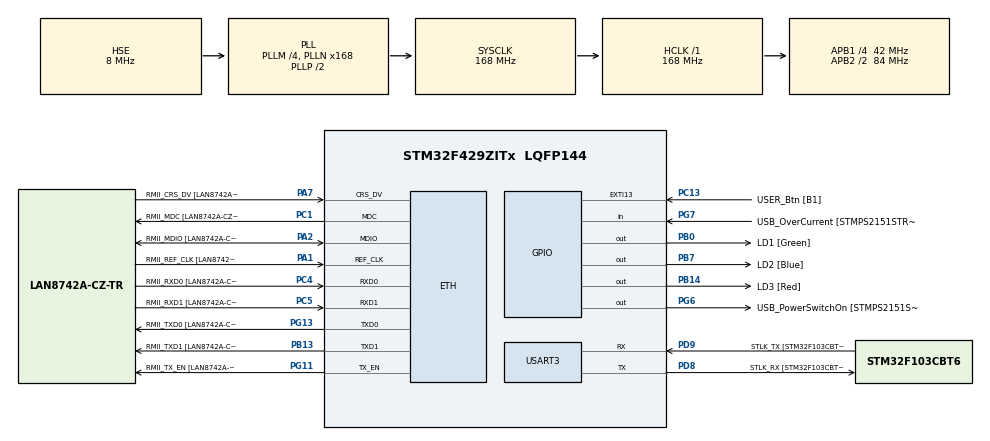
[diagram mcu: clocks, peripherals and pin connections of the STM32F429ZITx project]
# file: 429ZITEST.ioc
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Mcu.Family=STM32F4
RCC.CortexFreq_Value=168000000
PG6.Signal=GPIO_Output
PB14.GPIO_Label=LD3 [Red]
PG6.GPIO_Label=USB_PowerSwitchOn [STMPS2151STR_EN]
PA14.GPIO_Label=TCK
RCC.SYSCLKSourceVirtual=RCC_SYSCLKSOURCE_PLLCLK
PB0.GPIO_Label=LD1 [Green]
PC14/OSC32_IN.Mode=LSE-External-Oscillator
PC5.Mode=RMII
PC13.GPIO_Label=USER_Btn [B1]
PB13.GPIO_Label=RMII_TXD1 [LAN8742A-CZ-TR_TXD1]
PB13.Signal=ETH_TXD1
PG13.Signal=ETH_TXD0
PD9.Mode=Asynchronous
PG11.Signal=ETH_TX_EN
RCC.SYSCLKSource=RCC_SYSCLKSOURCE_PLLCLK
ProjectManager.StackSize=0x400
PA12.Signal=USB_OTG_FS_DP
PH0/OSC_IN.Mode=HSE-External-Clock-Source
RCC.HCLKFreq_Value=168000000
RCC.APB2TimFreq_Value=168000000
PH1/OSC_OUT.Signal=RCC_OSC_OUT
PD8.Signal=USART3_TX
RCC.AHBFreq_Value=168000000
RCC.HSE_VALUE=8000000
RCC.PLLMUL=RCC_PLL_MUL9
PC4.GPIO_Label=RMII_RXD0 [LAN8742A-CZ-TR_RXD0]
PA14.Mode=Serial_Wire
PA10.GPIO_Label=USB_ID
PB7.Signal=GPIO_Output
PA8.Signal=USB_OTG_FS_SOF
PG13.Mode=RMII
PH1/OSC_OUT.Mode=HSE-External-Clock-Source
PB7.GPIO_Label=LD2 [Blue]
Mcu.Package=LQFP144
PC14/OSC32_IN.Signal=RCC_OSC32_IN
PA2.GPIO_Label=RMII_MDIO [LAN8742A-CZ-TR_MDIO]
PA10.Signal=USB_OTG_FS_ID
RCC.APB2CLKDivider=RCC_HCLK_DIV2
RCC.APB1TimFreq_Value=84000000
PG11.GPIO_Label=RMII_TX_EN [LAN8742A-CZ-TR_TXEN]
PC5.Signal=ETH_RXD1
PB13.Mode=RMII
PC4.Mode=RMII
RCC.PLLSourceVirtual=RCC_PLLSOURCE_HSE
PA7.Mode=RMII
PG7.Signal=GPIO_Input
PD9.GPIO_Label=STLK_TX [STM32F103CBT6_PA2]
PC13.Signal=GPXTI13
PA9.GPIO_Label=USB_VBUS
PC4.Signal=ETH_RXD0
PA11.GPIO_Label=USB_DM
PD9.Signal=USART3_RX
RCC.APB1CLKDivider=RCC_HCLK_DIV4
PG13.GPIO_Label=RMII_TXD0 [LAN8742A-CZ-TR_TXD0]
ETH.PhyAddress=0
PA12.GPIO_Label=USB_DP
VP_LWIP_VS_Enabled.Mode=Enabled
PD8.GPIO_Label=STLK_RX [STM32F103CBT6_PA3]
PA13.Signal=SYS_JTMS-SWDIO
PA8.GPIO_Label=USB_SOF [TP1]
ProjectManager.TargetToolchain=EWARM V8.32
LWIP.LWIP_NETIF_LINK_CALLBACK=1
PA9.Signal=USB_OTG_FS_VBUS
RCC.USBFreq_Value=48000000
PD8.Mode=Asynchronous
PA1.Signal=ETH_REF_CLK
PB14.Signal=GPIO_Output
board=NUCLEO-F429ZI
RCC.VCOOutputFreq_Value=336000000
PH0/OSC_IN.Signal=RCC_OSC_IN
RCC.APB2Freq_Value=84000000
PA1.Mode=RMII
RCC.PRESCALERUSB=RCC_USBCLKSOURCE_PLL_DIV1_5
PG7.GPIO_Label=USB_OverCurrent [STMPS2151STR_FAULT]
PA1.GPIO_Label=RMII_REF_CLK [LAN8742A-CZ-TR_REFCLK0]
PC1.GPIO_Label=RMII_MDC [LAN8742A-CZ-TR_MDC]
PA13.Mode=Serial_Wire
Mcu.Name=STM32F429ZITx
PA2.Signal=ETH_MDIO
PA13.GPIO_Label=TMS
RCC.APB2TimCLKDivider=2
RCC.48MHZClocksFreq_Value=48000000
RCC.SYSCLKFreq_VALUE=168000000
ETH.MediaInterface=ETH_MEDIA_INTERFACE_RMII
PA7.GPIO_Label=RMII_CRS_DV [LAN8742A-CZ-TR_CRS_DV]
PC5.GPIO_Label=RMII_RXD1 [LAN8742A-CZ-TR_RXD1]
USART3.VirtualMode=VM_ASYNC
PC15/OSC32_OUT.Mode=LSE-External-Oscillator
PG11.Mode=RMII
PA11.Signal=USB_OTG_FS_DM
PA14.Signal=SYS_JTCK-SWCLK
ProjectManager.HeapSize=0x200
LWIP.Version=v2.1.2_Cube
RCC.HSI_VALUE=16000000
PH0/OSC_IN.GPIO_Label=MCO [STM32F103CBT6_PA8]
RCC.PLLQ=7
NVIC.PriorityGroup=NVIC_PRIORITYGROUP_4
RCC.PLLM=4
RCC.PLLN=168
PA2.Mode=RMII
PC15/OSC32_OUT.Signal=RCC_OSC32_OUT
RCC.APB1Freq_Value=42000000
PB0.Signal=GPIO_Output
PC1.Signal=ETH_MDC
PC1.Mode=RMII
PA7.Signal=ETH_CRS_DV

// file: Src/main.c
/* USER CODE BEGIN Header */
/**
  ******************************************************************************
  * @file           : main.c
  * @brief          : Main program body
  ******************************************************************************
  * @attention
  *
  * <h2><center>&copy; Copyright (c) 2021 STMicroelectronics.
  * All rights reserved.</center></h2>
  *
  * This software component is licensed by ST under Ultimate Liberty license
  * SLA0044, the "License"; You may not use this file except in compliance with
  * the License. You may obtain a copy of the License at:
  *                             www.st.com/SLA0044
  *
  ******************************************************************************
  */
/* USER CODE END Header */

#include "main.h"
#include "lwip.h"

/* USER CODE BEGIN Includes */
#include "stdio.h"
/* USER CODE END Includes */

UART_HandleTypeDef huart3;

/* USER CODE BEGIN PV */

#define PUTCHAR_PROTOTYPE_PUT int fputc(int ch, FILE *f)

PUTCHAR_PROTOTYPE_PUT
{
  if(ch == '\n')
  {
    ch='\r';
    HAL_UART_Transmit(&huart3, (uint8_t*)&ch, 1, 1000);
    ch='\n';
    HAL_UART_Transmit(&huart3, (uint8_t*)&ch, 1, 1000);
  }
  else
    HAL_UART_Transmit(&huart3, (uint8_t*)&ch, 1, 1000);
  return ch;
}

/* USER CODE END PV */

void SystemClock_Config(void);
static void MX_GPIO_Init(void);
static void MX_USART3_UART_Init(void);

/* USER CODE BEGIN 0 */

void ethernetif_notify_conn_changed(struct netif *netif)
{
  ethernetif_notify_conn_changed_notify(netif);
  if (netif_is_link_up(netif))
  {
    HAL_GPIO_WritePin(LD1_GPIO_Port, LD1_Pin, GPIO_PIN_SET);
    HAL_GPIO_WritePin(LD3_GPIO_Port, LD3_Pin, GPIO_PIN_RESET);
  }
  else
  {
    HAL_GPIO_WritePin(LD1_GPIO_Port, LD1_Pin, GPIO_PIN_RESET);
    HAL_GPIO_WritePin(LD3_GPIO_Port, LD3_Pin, GPIO_PIN_SET);
  }
}

/* USER CODE END 0 */

int main(void)
{

  /* MCU Configuration--------------------------------------------------------*/

  /* Reset of all peripherals, Initializes the Flash interface and the Systick. */
  HAL_Init();

  /* Configure the system clock */
  SystemClock_Config();

  /* Initialize all configured peripherals */
  MX_GPIO_Init();
  MX_USART3_UART_Init();
  MX_LWIP_Init();

  /* Infinite loop */
  while (1)
  {

    /* USER CODE BEGIN 3 */

    MX_LWIP_Process();
  }
  /* USER CODE END 3 */
}

void SystemClock_Config(void)
{
  RCC_OscInitTypeDef RCC_OscInitStruct = {0};
  RCC_ClkInitTypeDef RCC_ClkInitStruct = {0};

  /** Configure the main internal regulator output voltage
  */
  __HAL_RCC_PWR_CLK_ENABLE();
  __HAL_PWR_VOLTAGESCALING_CONFIG(PWR_REGULATOR_VOLTAGE_SCALE1);
  /** Initializes the CPU, AHB and APB busses clocks
  */
  RCC_OscInitStruct.OscillatorType = RCC_OSCILLATORTYPE_HSE;
  RCC_OscInitStruct.HSEState = RCC_HSE_BYPASS;
  RCC_OscInitStruct.PLL.PLLState = RCC_PLL_ON;
  RCC_OscInitStruct.PLL.PLLSource = RCC_PLLSOURCE_HSE;
  RCC_OscInitStruct.PLL.PLLM = 4;
  RCC_OscInitStruct.PLL.PLLN = 168;
  RCC_OscInitStruct.PLL.PLLP = RCC_PLLP_DIV2;
  RCC_OscInitStruct.PLL.PLLQ = 7;
  if (HAL_RCC_OscConfig(&RCC_OscInitStruct) != HAL_OK)
  {
    Error_Handler();
  }
  /** Initializes the CPU, AHB and APB busses clocks
  */
  RCC_ClkInitStruct.ClockType = RCC_CLOCKTYPE_HCLK|RCC_CLOCKTYPE_SYSCLK
                              |RCC_CLOCKTYPE_PCLK1|RCC_CLOCKTYPE_PCLK2;
  RCC_ClkInitStruct.SYSCLKSource = RCC_SYSCLKSOURCE_PLLCLK;
  RCC_ClkInitStruct.AHBCLKDivider = RCC_SYSCLK_DIV1;
  RCC_ClkInitStruct.APB1CLKDivider = RCC_HCLK_DIV4;
  RCC_ClkInitStruct.APB2CLKDivider = RCC_HCLK_DIV2;

  if (HAL_RCC_ClockConfig(&RCC_ClkInitStruct, FLASH_LATENCY_5) != HAL_OK)
  {
    Error_Handler();
  }
}

static void MX_USART3_UART_Init(void)
{

  huart3.Instance = USART3;
  huart3.Init.BaudRate = 115200;
  huart3.Init.WordLength = UART_WORDLENGTH_8B;
  huart3.Init.StopBits = UART_STOPBITS_1;
  huart3.Init.Parity = UART_PARITY_NONE;
  huart3.Init.Mode = UART_MODE_TX_RX;
  huart3.Init.HwFlowCtl = UART_HWCONTROL_NONE;
  huart3.Init.OverSampling = UART_OVERSAMPLING_16;
  if (HAL_UART_Init(&huart3) != HAL_OK)
  {
    Error_Handler();
  }

}

static void MX_GPIO_Init(void)
{
  GPIO_InitTypeDef GPIO_InitStruct = {0};

  /* GPIO Ports Clock Enable */
  __HAL_RCC_GPIOC_CLK_ENABLE();
  __HAL_RCC_GPIOH_CLK_ENABLE();
  __HAL_RCC_GPIOA_CLK_ENABLE();
  __HAL_RCC_GPIOB_CLK_ENABLE();
  __HAL_RCC_GPIOD_CLK_ENABLE();
  __HAL_RCC_GPIOG_CLK_ENABLE();

  /*Configure GPIO pin Output Level */
  HAL_GPIO_WritePin(GPIOB, LD1_Pin|LD3_Pin|LD2_Pin, GPIO_PIN_RESET);

  /*Configure GPIO pin Output Level */
  HAL_GPIO_WritePin(USB_PowerSwitchOn_GPIO_Port, USB_PowerSwitchOn_Pin, GPIO_PIN_RESET);

  /*Configure GPIO pin : USER_Btn_Pin */
  GPIO_InitStruct.Pin = USER_Btn_Pin;
  GPIO_InitStruct.Mode = GPIO_MODE_IT_RISING;
  GPIO_InitStruct.Pull = GPIO_NOPULL;
  HAL_GPIO_Init(USER_Btn_GPIO_Port, &GPIO_InitStruct);

  /*Configure GPIO pins : LD1_Pin LD3_Pin LD2_Pin */
  GPIO_InitStruct.Pin = LD1_Pin|LD3_Pin|LD2_Pin;
  GPIO_InitStruct.Mode = GPIO_MODE_OUTPUT_PP;
  GPIO_InitStruct.Pull = GPIO_NOPULL;
  GPIO_InitStruct.Speed = GPIO_SPEED_FREQ_LOW;
  HAL_GPIO_Init(GPIOB, &GPIO_InitStruct);

  /*Configure GPIO pin : USB_PowerSwitchOn_Pin */
  GPIO_InitStruct.Pin = USB_PowerSwitchOn_Pin;
  GPIO_InitStruct.Mode = GPIO_MODE_OUTPUT_PP;
  GPIO_InitStruct.Pull = GPIO_NOPULL;
  GPIO_InitStruct.Speed = GPIO_SPEED_FREQ_LOW;
  HAL_GPIO_Init(USB_PowerSwitchOn_GPIO_Port, &GPIO_InitStruct);

  /*Configure GPIO pin : USB_OverCurrent_Pin */
  GPIO_InitStruct.Pin = USB_OverCurrent_Pin;
  GPIO_InitStruct.Mode = GPIO_MODE_INPUT;
  GPIO_InitStruct.Pull = GPIO_NOPULL;
  HAL_GPIO_Init(USB_OverCurrent_GPIO_Port, &GPIO_InitStruct);

  /*Configure GPIO pins : USB_SOF_Pin USB_ID_Pin USB_DM_Pin USB_DP_Pin */
  GPIO_InitStruct.Pin = USB_SOF_Pin|USB_ID_Pin|USB_DM_Pin|USB_DP_Pin;
  GPIO_InitStruct.Mode = GPIO_MODE_AF_PP;
  GPIO_InitStruct.Pull = GPIO_NOPULL;
  GPIO_InitStruct.Speed = GPIO_SPEED_FREQ_VERY_HIGH;
  GPIO_InitStruct.Alternate = GPIO_AF10_OTG_FS;
  HAL_GPIO_Init(GPIOA, &GPIO_InitStruct);

  /*Configure GPIO pin : USB_VBUS_Pin */
  GPIO_InitStruct.Pin = USB_VBUS_Pin;
  GPIO_InitStruct.Mode = GPIO_MODE_INPUT;
  GPIO_InitStruct.Pull = GPIO_NOPULL;
  HAL_GPIO_Init(USB_VBUS_GPIO_Port, &GPIO_InitStruct);

}

void Error_Handler(void)
{
}

/************************ (C) COPYRIGHT STMicroelectronics *****END OF FILE****/
